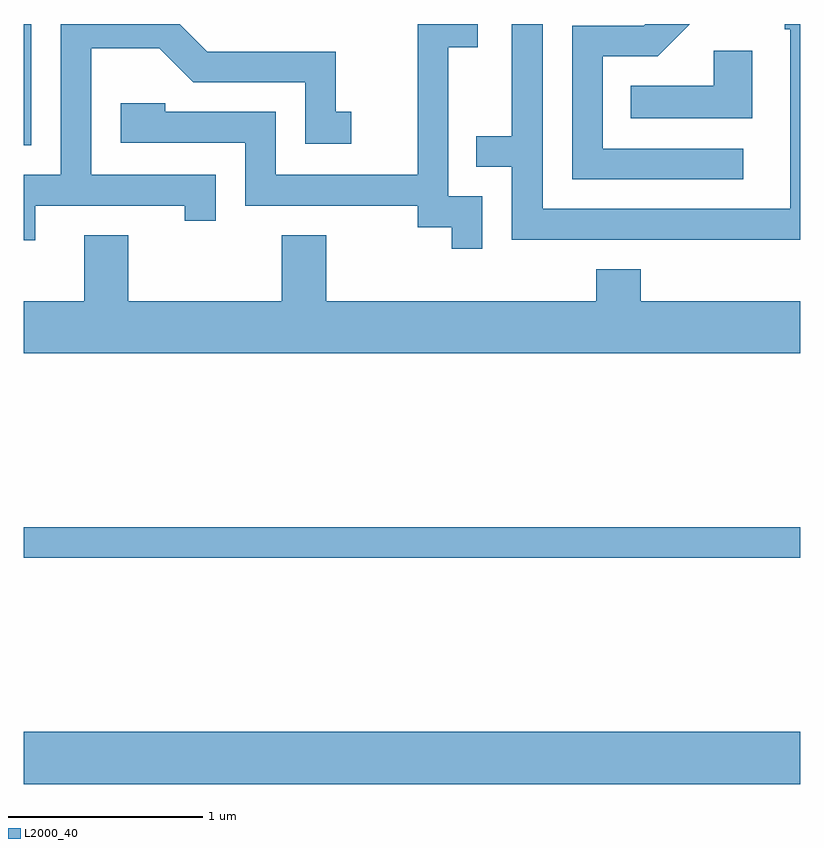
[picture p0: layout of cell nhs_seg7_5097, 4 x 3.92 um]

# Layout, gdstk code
import gdstk
lib = gdstk.Library(unit=1e-6, precision=1e-09)
def R(c, l, rs):  # rectangles x0, y0, x1, y1
    for r in rs: c.add(gdstk.rectangle(r[:2], r[2:], *l))
def P(c, l, *ps):  # polygons
    for p in ps: c.add(gdstk.Polygon(p, *l))
L2000_40 = (2000, 40)

nhs_seg7_5097 = lib.new_cell('nhs_seg7_5097')
R(nhs_seg7_5097, L2000_40, [(341.611,1694.336,345.611,1694.604), (341.611,1695.501,345.611,1695.659), (341.611,1697.626,341.649,1698.252)])
P(nhs_seg7_5097, L2000_40, [(345.318,1697.609),(344.594,1697.609),(344.594,1698.086),(344.877,1698.086),(345.043,1698.252),(344.812,1698.252),(344.804,1698.244),(344.436,1698.244),(344.436,1697.451),(345.318,1697.451)],
  [(343.974,1697.364),(343.799,1697.364),(343.799,1698.131),(343.949,1698.131),(343.949,1698.252),(343.641,1698.252),(343.641,1697.474),(342.909,1697.474),(342.909,1697.799),(342.339,1697.799),(342.339,1697.844),(342.111,1697.844),(342.111,1697.641),(342.751,1697.641),(342.751,1697.316),(343.641,1697.316),(343.641,1697.206),(343.816,1697.206),(343.816,1697.093),(343.974,1697.093)],
  [(341.669,1697.316),(342.441,1697.316),(342.441,1697.238),(342.599,1697.238),(342.599,1697.474),(341.959,1697.474),(341.959,1698.126),(342.309,1698.126),(342.484,1697.951),(343.061,1697.951),(343.061,1697.636),(343.298,1697.636),(343.298,1697.799),(343.219,1697.799),(343.219,1698.109),(342.557,1698.109),(342.414,1698.252),(341.801,1698.252),(341.801,1697.474),(341.611,1697.474),(341.611,1697.138),(341.669,1697.138)],
  [(345.611,1698.252),(345.531,1698.252),(345.531,1698.226),(345.561,1698.226),(345.561,1697.299),(344.284,1697.299),(344.284,1698.252),(344.126,1698.252),(344.126,1697.674),(343.943,1697.674),(343.943,1697.516),(344.126,1697.516),(344.126,1697.141),(345.611,1697.141)],
  [(345.364,1698.114),(345.166,1698.114),(345.166,1697.934),(344.738,1697.934),(344.738,1697.766),(345.364,1697.766)],
  [(345.611,1696.824),(344.789,1696.824),(344.789,1696.989),(344.561,1696.989),(344.561,1696.824),(343.169,1696.824),(343.169,1697.164),(342.941,1697.164),(342.941,1696.824),(342.149,1696.824),(342.149,1697.164),(341.921,1697.164),(341.921,1696.824),(341.611,1696.824),(341.611,1696.556),(345.611,1696.556)])

lib.write_gds('nhs_seg7_5097.gds')
